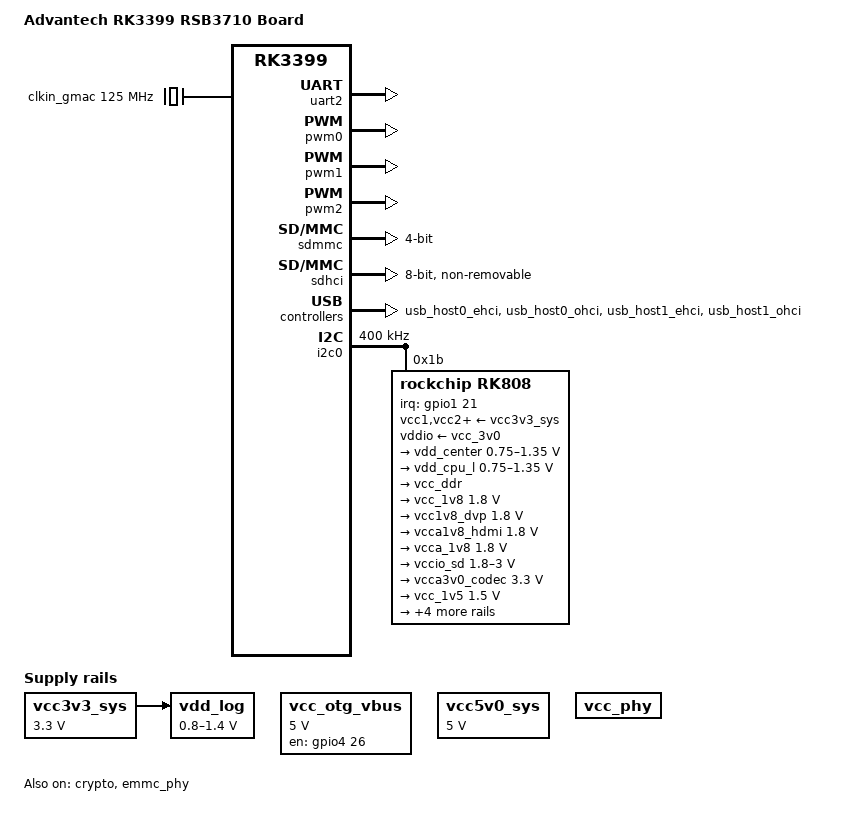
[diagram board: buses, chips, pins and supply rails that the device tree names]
/*
 * (C) Copyright 2016 Rockchip Electronics Co., Ltd
 *
 * SPDX-License-Identifier:     GPL-2.0+
 */

/dts-v1/;
#include <dt-bindings/pwm/pwm.h>
#include <dt-bindings/pinctrl/rockchip.h>
#include "rk3399.dtsi"
#include "rk3399-sdram-lpddr3-4GB-1600.dtsi"
#include "rk3399-u-boot.dtsi"
#include <linux/media-bus-format.h>
#include <dt-bindings/input/input.h>

/ {
	model = "Advantech RK3399 RSB3710 Board";
	compatible = "advantech-rsb3710", "rockchip,rk3399";

	vcc3v3_sys: vcc3v3-sys {
		compatible = "regulator-fixed";
		regulator-name = "vcc3v3_sys";
		regulator-always-on;
		regulator-boot-on;
		regulator-min-microvolt = <3300000>;
		regulator-max-microvolt = <3300000>;
	};

	vcc_otg_vbus: otg-vbus-regulator {
		compatible = "regulator-fixed";
		gpio = <&gpio4 26 GPIO_ACTIVE_HIGH>;
		pinctrl-names = "default";
		pinctrl-0 = <&otg_vbus_drv>;
		regulator-name = "vcc_otg_vbus";
		regulator-min-microvolt = <5000000>;
		regulator-max-microvolt = <5000000>;
		enable-active-high;
	};

	vcc5v0_sys: vcc5v0-sys {
		compatible = "regulator-fixed";
		regulator-name = "vcc5v0_sys";
		regulator-always-on;
		regulator-boot-on;
		regulator-min-microvolt = <5000000>;
		regulator-max-microvolt = <5000000>;
	};

	vcc_phy: vcc-phy-regulator {
		compatible = "regulator-fixed";
		regulator-name = "vcc_phy";
		regulator-always-on;
		regulator-boot-on;
	};

	vdd_log: vdd-log {
		compatible = "pwm-regulator";
		pwms = <&pwm2 0 25000 1>;
		regulator-name = "vdd_log";
		regulator-min-microvolt = <800000>;
		regulator-max-microvolt = <1400000>;
		regulator-init-microvolt = <950000>;
		regulator-always-on;
		regulator-boot-on;

		vin-supply = <&vcc3v3_sys>;
		status = "okay";
	};
	
	clkin_gmac: external-gmac-clock {
		compatible = "fixed-clock";
		clock-frequency = <125000000>;
		clock-output-names = "clkin_gmac";
		#clock-cells = <0>;
	};
};

&crypto {
	status = "okay";
};

&uart2 {
	status = "okay";
};

&emmc_phy {
	status = "okay";
};

&pwm0 {
	status = "okay";
};

&pwm1 {
	status = "okay";
};

&pwm2 {
	status = "okay";
};

&saradc {
	status = "disabled";
};

&sdmmc {
	bus-width = <4>;
	status = "okay";
};

&sdhci {
	bus-width = <8>;
	mmc-hs400-1_8v;
	mmc-hs400-enhanced-strobe;
	non-removable;
	status = "okay";
};

&usb_host0_ehci {
	status = "okay";
};

&usb_host0_ohci {
	status = "okay";
};

&usb_host1_ehci {
	status = "okay";
};

&usb_host1_ohci {
	status = "okay";
};

&dwc3_typec0 {
	//vbus-supply = <&vcc5v0_typec0>;
	status = "disabled";
};

&dwc3_typec1 {
	//vbus-supply = <&vcc5v0_typec1>;
	status = "disabled";
};

&i2c0 {
	status = "okay";
	clock-frequency = <400000>;
	i2c-scl-falling-time-ns = <29>;
	i2c-scl-rising-time-ns = <178>;

	rk808: pmic@1b {
		compatible = "rockchip,rk808";
		clock-output-names = "xin32k", "wifibt_32kin";
		interrupt-parent = <&gpio1>;
		interrupts = <21 IRQ_TYPE_LEVEL_LOW>;
		pinctrl-names = "default";
		pinctrl-0 = <&pmic_int_l>;
		reg = <0x1b>;
		rockchip,system-power-controller;
		#clock-cells = <1>;
		status = "okay";

		vcc1-supply = <&vcc3v3_sys>;
		vcc2-supply = <&vcc3v3_sys>;
		vcc3-supply = <&vcc3v3_sys>;
		vcc4-supply = <&vcc3v3_sys>;
		vcc6-supply = <&vcc3v3_sys>;
		vcc7-supply = <&vcc3v3_sys>;
		vcc8-supply = <&vcc3v3_sys>;
		vcc9-supply = <&vcc3v3_sys>;
		vcc10-supply = <&vcc3v3_sys>;
		vcc11-supply = <&vcc3v3_sys>;
		vcc12-supply = <&vcc3v3_sys>;
		vddio-supply = <&vcc_3v0>;

		regulators {
			vdd_center: DCDC_REG1 {
				regulator-always-on;
				regulator-boot-on;
				regulator-min-microvolt = <750000>;
				regulator-max-microvolt = <1350000>;
				regulator-ramp-delay = <6001>;
				regulator-name = "vdd_center";
				regulator-state-mem {
					regulator-off-in-suspend;
				};
			};

			vdd_cpu_l: DCDC_REG2 {
				regulator-always-on;
				regulator-boot-on;
				regulator-min-microvolt = <750000>;
				regulator-max-microvolt = <1350000>;
				regulator-ramp-delay = <6001>;
				regulator-name = "vdd_cpu_l";
				regulator-state-mem {
					regulator-off-in-suspend;
				};
			};

			vcc_ddr: DCDC_REG3 {
				regulator-always-on;
				regulator-boot-on;
				regulator-name = "vcc_ddr";
				regulator-state-mem {
					regulator-on-in-suspend;
				};
			};

			vcc_1v8: DCDC_REG4 {
				regulator-always-on;
				regulator-boot-on;
				regulator-min-microvolt = <1800000>;
				regulator-max-microvolt = <1800000>;
				regulator-name = "vcc_1v8";
				regulator-state-mem {
					regulator-on-in-suspend;
					regulator-suspend-microvolt = <1800000>;
				};
			};

			vcc1v8_dvp: LDO_REG1 {
				regulator-always-on;
				regulator-boot-on;
				regulator-min-microvolt = <1800000>;
				regulator-max-microvolt = <1800000>;
				regulator-name = "vcc1v8_dvp";
				regulator-state-mem {
					regulator-on-in-suspend;
					regulator-suspend-microvolt = <1800000>;
				};
			};

			vcca1v8_hdmi: LDO_REG2 {
				regulator-always-on;
				regulator-boot-on;
				regulator-min-microvolt = <1800000>;
				regulator-max-microvolt = <1800000>;
				regulator-name = "vcca1v8_hdmi";
				regulator-state-mem {
					regulator-on-in-suspend;
					regulator-suspend-microvolt = <1800000>;
				};
			};

			vcca_1v8: LDO_REG3 {
				regulator-always-on;
				regulator-boot-on;
				regulator-min-microvolt = <1800000>;
				regulator-max-microvolt = <1800000>;
				regulator-name = "vcca_1v8";
				regulator-state-mem {
					regulator-on-in-suspend;
					regulator-suspend-microvolt = <1800000>;
				};
			};

			vccio_sd: LDO_REG4 {
				regulator-always-on;
				regulator-boot-on;
				regulator-min-microvolt = <1800000>;
				regulator-max-microvolt = <3000000>;
				regulator-name = "vccio_sd";
				regulator-state-mem {
					regulator-on-in-suspend;
					regulator-suspend-microvolt = <3000000>;
				};
			};

			vcca3v0_codec: LDO_REG5 {
				regulator-always-on;
				regulator-boot-on;
				regulator-min-microvolt = <3300000>;
				regulator-max-microvolt = <3300000>;
				regulator-name = "vcca3v0_codec";
				regulator-state-mem {
					regulator-on-in-suspend;
					regulator-suspend-microvolt = <3300000>;
				};
			};

			vcc_1v5: LDO_REG6 {
				regulator-always-on;
				regulator-boot-on;
				regulator-min-microvolt = <1500000>;
				regulator-max-microvolt = <1500000>;
				regulator-name = "vcc_1v5";
				regulator-state-mem {
					regulator-on-in-suspend;
					regulator-suspend-microvolt = <1500000>;
				};
			};

			vcca0v9_hdmi: LDO_REG7 {
				regulator-always-on;
				regulator-boot-on;
				regulator-min-microvolt = <900000>;
				regulator-max-microvolt = <900000>;
				regulator-name = "vcca0v9_hdmi";
				regulator-state-mem {
					regulator-on-in-suspend;
					regulator-suspend-microvolt = <900000>;
				};
			};

			vcc_3v0: LDO_REG8 {
				regulator-always-on;
				regulator-boot-on;
				regulator-min-microvolt = <3000000>;
				regulator-max-microvolt = <3000000>;
				regulator-name = "vcc_3v0";
				regulator-state-mem {
					regulator-on-in-suspend;
					regulator-suspend-microvolt = <3000000>;
				};
			};

			vcc3v3_s3: SWITCH_REG1 {
				regulator-always-on;
				regulator-boot-on;
				regulator-name = "vcc3v3_s3";
				regulator-state-mem {
					regulator-off-in-suspend;
				};
			};

			vcc3v3_s0: SWITCH_REG2 {
				regulator-always-on;
				regulator-boot-on;
				regulator-name = "vcc3v3_s0";
				regulator-state-mem {
					regulator-off-in-suspend;
				};
			};
		};
	};
};

&pinctrl {
	pmic {
		pmic_int_l: pmic-int-l {
			rockchip,pins =
				<1 21 RK_FUNC_GPIO &pcfg_pull_up>;
		};
	};

	vcc_sd {
		vcc_sd_h: vcc-sd-h {
			rockchip,pins =
				<0 1 RK_FUNC_GPIO &pcfg_pull_up>;
		};
	};
	
	usb {
		otg_vbus_drv: otg-vbus-drv {
			rockchip,pins = 
				<4 26 RK_FUNC_GPIO &pcfg_pull_none>;
		};
		host_vbus_drv: host-vbus-drv {
			rockchip,pins =
				<4 29 RK_FUNC_GPIO &pcfg_pull_none>;
		};
	};
};

&gmac {
	phy-supply = <&vcc_phy>;
	phy-mode = "rgmii";
	clock_in_out = "input";
	snps,reset-gpio = <&gpio3 RK_PB7 GPIO_ACTIVE_LOW>;
	snps,reset-active-low;
	snps,reset-delays-us = <0 10000 50000>;
	assigned-clocks = <&cru SCLK_RMII_SRC>;
	assigned-clock-parents = <&clkin_gmac>;
	pinctrl-names = "default";
	pinctrl-0 = <&rgmii_pins>;
	tx_delay = <0x28>;
	rx_delay = <0x11>;
	status = "disabled";
};

&route_edp {
	status = "disabled";
};

&edp_in_vopl {
	status = "disabled";
};

&edp_in_vopb {
	status = "disabled";
};

&edp {
	status = "disabled";
	force-hpd;
};

&vopb {
	status = "disabled";
};
